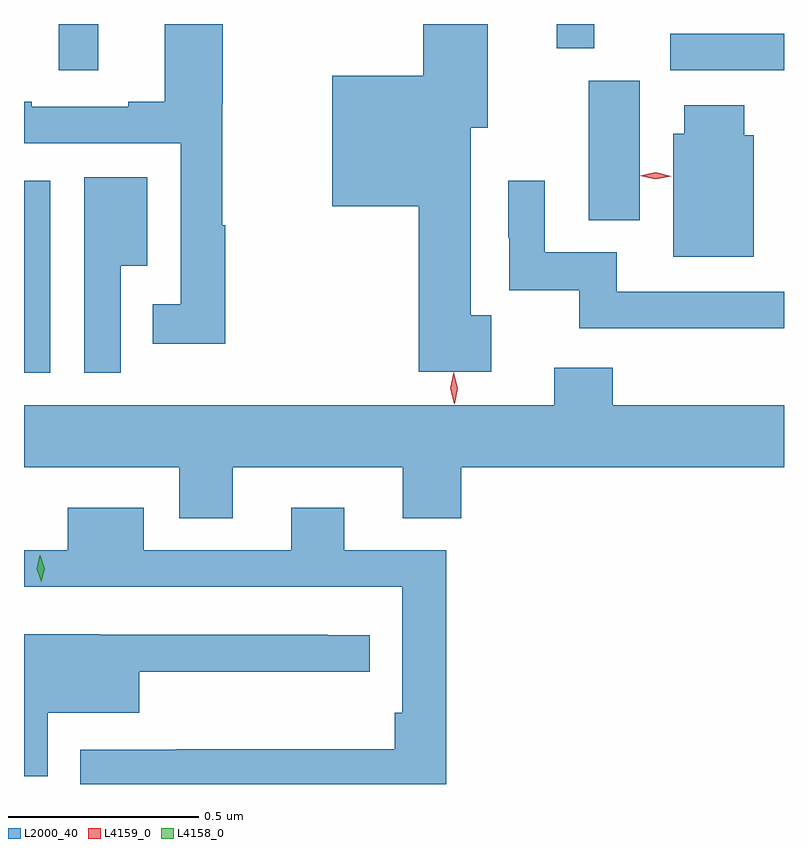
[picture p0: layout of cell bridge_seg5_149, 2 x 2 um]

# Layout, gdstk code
import gdstk
lib = gdstk.Library(unit=1e-6, precision=1e-09)
def R(c, l, rs):  # rectangles x0, y0, x1, y1
    for r in rs: c.add(gdstk.rectangle(r[:2], r[2:], *l))
def P(c, l, *ps):  # polygons
    for p in ps: c.add(gdstk.Polygon(p, *l))
L2000_40 = (2000, 40)
L4158_0 = (4158, 0)
L4159_0 = (4159, 0)

bridge_seg5_149 = lib.new_cell('bridge_seg5_149')
R(bridge_seg5_149, L2000_40, [(349.681,846.353,349.75,846.859), (351.167,846.755,351.301,847.122), (349.772,847.149,349.876,847.271), (351.381,847.149,351.681,847.245), (351.083,847.207,351.182,847.271)])
P(bridge_seg5_149, L2000_40, [(350.911,846.504),(350.857,846.504),(350.857,846.998),(350.902,846.998),(350.902,847.271),(350.732,847.271),(350.732,847.135),(350.492,847.135),(350.492,846.791),(350.72,846.791),(350.72,846.356),(350.911,846.356)],
  [(350.21,846.741),(350.203,846.741),(350.203,847.06),(350.204,847.06),(350.204,847.271),(350.051,847.271),(350.051,847.066),(349.955,847.066),(349.955,847.053),(349.702,847.053),(349.702,847.066),(349.681,847.066),(349.681,846.957),(350.094,846.957),(350.094,846.534),(350.02,846.534),(350.02,846.429),(350.21,846.429)],
  [(351.601,846.978),(351.577,846.978),(351.577,847.057),(351.419,847.057),(351.419,846.982),(351.389,846.982),(351.389,846.659),(351.601,846.659)],
  [(349.935,846.635),(350.005,846.635),(350.005,846.868),(349.839,846.868),(349.839,846.353),(349.935,846.353)],
  [(351.681,846.567),(351.241,846.567),(351.241,846.67),(351.051,846.67),(351.051,846.859),(350.955,846.859),(350.955,846.708),(350.958,846.708),(350.958,846.57),(351.142,846.57),(351.142,846.47),(351.681,846.47)],
  [(349.681,846.104),(350.09,846.104),(350.09,845.971),(350.23,845.971),(350.23,846.104),(350.678,846.104),(350.678,845.971),(350.831,845.971),(350.831,846.104),(351.681,846.104),(351.681,846.268),(351.23,846.268),(351.23,846.367),(351.077,846.367),(351.077,846.268),(349.681,846.268)],
  [(350.792,845.886),(350.524,845.886),(350.524,845.998),(350.384,845.998),(350.384,845.886),(349.996,845.886),(349.996,845.998),(349.796,845.998),(349.796,845.886),(349.681,845.886),(349.681,845.79),(350.676,845.79),(350.676,845.458),(350.656,845.458),(350.656,845.363),(350.08,845.363),(350.08,845.361),(349.829,845.361),(349.829,845.271),(350.792,845.271)],
  [(349.744,845.459),(349.984,845.459),(349.984,845.567),(350.591,845.567),(350.591,845.663),(350.48,845.663),(350.48,845.664),(349.88,845.664),(349.88,845.665),(349.681,845.665),(349.681,845.292),(349.744,845.292)])
P(bridge_seg5_149, L4158_0, [(349.726,845.802),(349.726,845.803),(349.715,845.838),(349.723,845.873),(349.724,845.873),(349.724,845.873),(349.735,845.838),(349.726,845.803)])
P(bridge_seg5_149, L4159_0, [(351.343,846.862),(351.302,846.872),(351.302,846.872),(351.302,846.872),(351.343,846.881),(351.384,846.871),(351.384,846.871),(351.384,846.871)],
  [(350.813,846.272),(350.813,846.272),(350.803,846.312),(350.812,846.354),(350.812,846.354),(350.812,846.354),(350.823,846.313),(350.814,846.272)])

lib.write_gds('bridge_seg5_149.gds')
